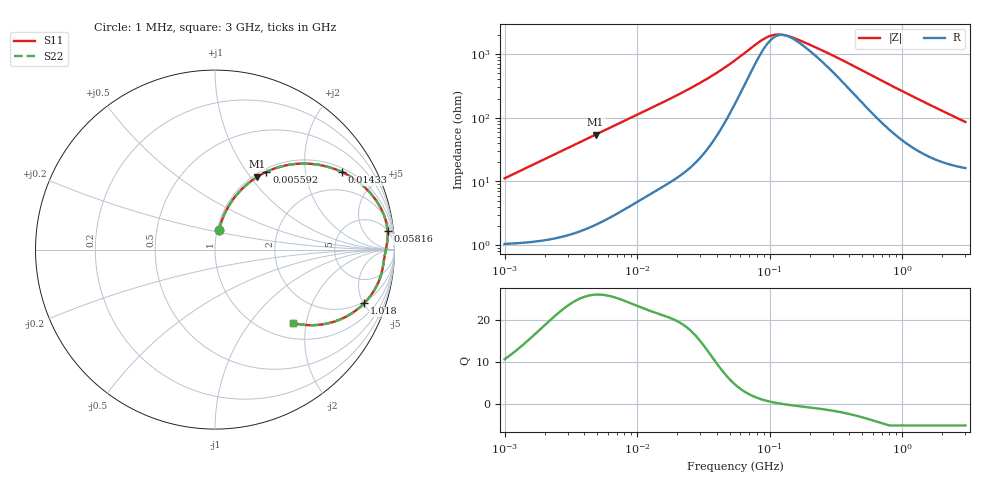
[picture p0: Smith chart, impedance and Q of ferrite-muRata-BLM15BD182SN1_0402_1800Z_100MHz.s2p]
! BLM15BD182SN1
# Hz S RI R 50
!Freq.(Hz) S11(Real) S11(Imag) S21(Real) S21(Imag) S12(Real) S12(Imag) S22(Real) S22(Imag)
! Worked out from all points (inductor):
!   401 points, 1 MHz to 3 GHz, reference 50 ohm
!   read as one part in series: L = 1.78 uH near 1.041 MHz
!   highest Q = 25.9 at 4.861 MHz (marker M1), where L = 1.77 uH
!   self-resonance near 129.8 MHz
!   S11 on the Smith chart (normalised r, x): 1 MHz: 1.02, +0.22; 5.592 MHz: 1.05, +1.24; 14.33 MHz: 1.15, +3.18; 58.16 MHz: 5, +17; 1.018 GHz: 1.86, -5.06; 3 GHz: 1.32, -1.68
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1000000  0.0223 0.108  0.9777 -0.108  0.9777 -0.108  0.0223 0.108
2182827  0.0663 0.2247  0.9337 -0.2247  0.9337 -0.2247  0.0663 0.2247
3823119  0.1635 0.3505  0.8365 -0.3505  0.8365 -0.3505  0.1635 0.3505
4861065  0.2354 0.4054  0.7646 -0.4054  0.7646 -0.4054  0.2354 0.4054
5592179  0.2868 0.4334  0.7132 -0.4334  0.7132 -0.4334  0.2868 0.4334
8861669  0.4923 0.4795  0.5077 -0.4795  0.5077 -0.4795  0.4923 0.4795
1.432659e7  0.7084 0.4318  0.2916 -0.4318  0.2916 -0.4318  0.7084 0.4318
1.461624e7  0.7163 0.428  0.2837 -0.428  0.2837 -0.428  0.7163 0.428
1.973457e7  0.819 0.3605  0.181 -0.3605  0.181 -0.3605  0.819 0.3605
2.718395e7  0.8949 0.2778  0.1051 -0.2778  0.1051 -0.2778  0.8949 0.2778
3.897472e7  0.9429 0.1877  0.0571 -0.1877  0.0571 -0.1877  0.9429 0.1877
5.477226e7  0.9606 0.1153  0.0394 -0.1153  0.0394 -0.1153  0.9606 0.1153
5.816196e7  0.9617 0.1042  0.0383 -0.1042  0.0383 -0.1042  0.9617 0.1042
8.679508e7  0.9599 0.0431  0.0401 -0.0431  0.0401 -0.0431  0.9599 0.0431
1.081723e8  0.9555 0.0179  0.0445 -0.0179  0.0445 -0.0179  0.9555 0.0179
1.375402e8  0.9505 -0.00527  0.0495 0.00527  0.0495 0.00527  0.9505 -0.00527
2.094008e8  0.9436 -0.0422  0.0564 0.0422  0.0564 0.0422  0.9436 -0.0422
4.219165e8  0.9299 -0.1233  0.0701 0.1233  0.0701 0.1233  0.9299 -0.1233
8.005644e8  0.8755 -0.245  0.1245 0.245  0.1245 0.245  0.8755 -0.245
1.017911e9  0.8305 -0.2996  0.1695 0.2996  0.1695 0.2996  0.8305 -0.2996
1.855641e9  0.6369 -0.4091  0.3631 0.4091  0.3631 0.4091  0.6369 -0.4091
3e9  0.4355 -0.4088  0.5645 0.4088  0.5645 0.4088  0.4355 -0.4088
